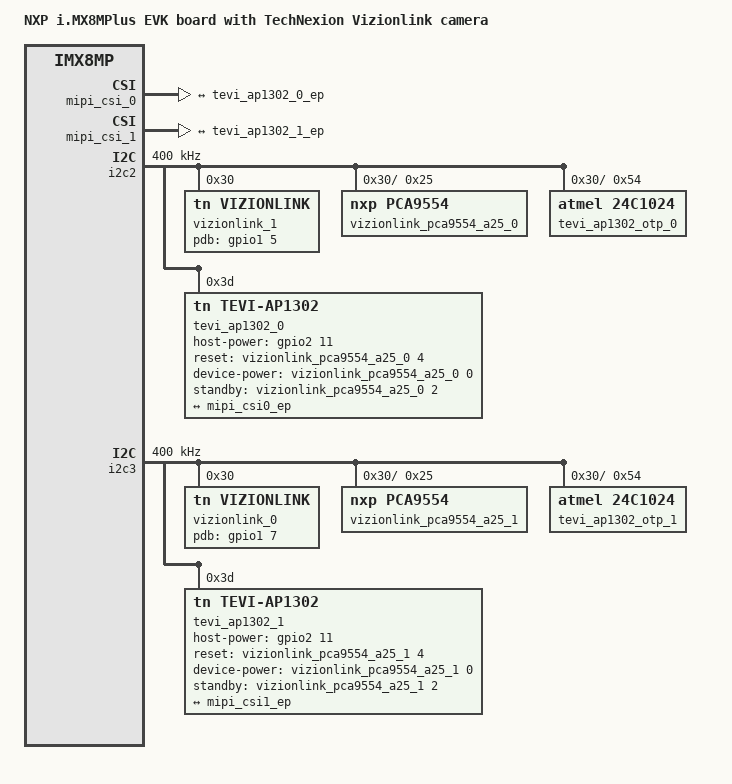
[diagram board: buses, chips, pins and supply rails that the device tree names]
// SPDX-License-Identifier: (GPL-2.0+ OR MIT)
/*
 * Copyright 2020 TechNexion Ltd.
 *
 * Author: Richard Hu <richard.hu@technexion.com>
 *         Ray Chang <ray.chang@technexion.com>
 *
 */

#include "imx8mp-evk.dts"

/ {
	model = "NXP i.MX8MPlus EVK board with TechNexion Vizionlink camera";
};

&iomuxc {
	ap1302_pinctrl_csi0_pwn: ap1302_csi0_pwn_grp {
		fsl,pins = <
			MX8MP_IOMUXC_SD1_STROBE__GPIO2_IO11	0x9 /* CSI1_PWDN for host-power-gpios */
			MX8MP_IOMUXC_GPIO1_IO05__GPIO1_IO05	0x9 /* INFO_TRIG_IN1 for standby-gpios */
		>;
	};

	ap1302_pinctrl_csi1_pwn: ap1302_csi1_pwn_grp {
		fsl,pins = <
			MX8MP_IOMUXC_SD1_STROBE__GPIO2_IO11	0x9 /* CSI1_PWDN for host-power-gpios */
			MX8MP_IOMUXC_GPIO1_IO07__GPIO1_IO07	0x9 /* INFO_TRIG_IN1 for standby-gpios */
		>;
	};

	ap1302_pinctrl_csi_mclk: ap1302_csi_mclk_grp {
		fsl,pins = <
			MX8MP_IOMUXC_GPIO1_IO15__GPIO1_IO15	0x9
		>;
	};

	ap1302_pinctrl_csi_rst: ap1302_csi_rst_grp {
		fsl,pins = <
			MX8MP_IOMUXC_GPIO1_IO06__GPIO1_IO06		0x19
		>;
	};
};

&mipi_csi_0 {
	#address-cells = <1>;
	#size-cells = <0>;
	clock-frequency = <400000000>;
	status = "okay";

	port@0 {
		reg = <0>;
		mipi_csi0_ep: endpoint {
			remote-endpoint = <&tevi_ap1302_0_ep>;
			data-lanes = <4>;
			csis-hs-settle = <19>;
			csis-clk-settle = <2>;
			csis-wclk;
		};
	};
};


&mipi_csi_1 {
	#address-cells = <1>;
	#size-cells = <0>;
	clock-frequency = <400000000>;
	status = "okay";

	port@1 {
		reg = <1>;
		mipi_csi1_ep: endpoint {
			remote-endpoint = <&tevi_ap1302_1_ep>;
			data-lanes = <4>;
			csis-hs-settle = <19>;
			csis-clk-settle = <2>;
			csis-wclk;
		};
	};
};


&i2c2 {
	clock-frequency = <400000>;

	/delete-node/ ov5640_mipi@3c;

	vizionlink_1: vizionlink@30 {
		compatible = "tn,vizionlink";
		reg = <0x30>;
		pdb-gpios = <&gpio1 5 GPIO_ACTIVE_HIGH>;
		ser_alias_id = <0x1b>;

		//i2c addr alias map "gpio extender, eeprom , sensor"
		i2c_addr_alias_map_local = <0x25 0x54 0x55 0x3d>;
		i2c_addr_alias_map_remote = <0x25 0x54 0x55 0x3d>;

		//deserializer output csi lanes 1~4. default 4
		des_csi_lanes = <4>;

		//1: Enable 0: Disable continuous clock. default 0
		des_csi_continuous_clock = <0>;

		//serializer input csi lanes 1~4. default 4
		ser_csi_lanes = <4>;

		//1: Enable 0: Disable continuous clock. default 0
		ser_csi_continuous_clock = <0>;

		status = "okay";

		i2c_dev_list {
			#address-cells = <1>;
			#size-cells = <0>;

			vizionlink_pca9554_a25_0: vizionlink_pca9554@25 {
				compatible = "nxp,pca9554";
				reg = <0x25>;
				gpio-controller;
				#gpio-cells = <2>;
				status = "okay";
			};

			tevi_ap1302_otp_0: tevi_ap1302_otp@54 {
				compatible = "atmel,24c1024";
				pagesize = <256>;
				reg = <0x54>;
			};
		};
	};

	tevi_ap1302_0: tevi_ap1302@3d {
		compatible = "tn,tevi-ap1302";
		reg = <0x3d>;

		pinctrl-names = "default";
		pinctrl-0 = <&ap1302_pinctrl_csi0_pwn>, <&ap1302_pinctrl_csi_rst>, <&ap1302_pinctrl_csi_mclk>;
		host-power-gpios = <&gpio2 11 GPIO_ACTIVE_HIGH>;
		reset-gpios = <&vizionlink_pca9554_a25_0 4 GPIO_ACTIVE_HIGH>;
		device-power-gpios = <&vizionlink_pca9554_a25_0 0 GPIO_ACTIVE_HIGH>;
		standby-gpios = <&vizionlink_pca9554_a25_0 2 GPIO_ACTIVE_HIGH>;
		nvmem = <&tevi_ap1302_otp_0>;
		nvmem-names = "calib-data";
		data-lanes = <4>;
		continuous-clock = <0>;
		status = "okay";

		port {
			tevi_ap1302_0_ep: endpoint {
				remote-endpoint = <&mipi_csi0_ep>;
			};
		};
	};
};


&i2c3 {
	clock-frequency = <400000>;

	/delete-node/ ov5640_mipi@3c;

	vizionlink_0: vizionlink@30 {
		compatible = "tn,vizionlink";
		reg = <0x30>;
		pdb-gpios = <&gpio1 7 GPIO_ACTIVE_HIGH>;
		ser_alias_id = <0x1b>;

		//i2c addr alias map "gpio extender, eeprom , sensor"
		i2c_addr_alias_map_local = <0x25 0x54 0x55 0x3d>;
		i2c_addr_alias_map_remote = <0x25 0x54 0x55 0x3d>;

		//deserializer output csi lanes 1~4. default 4
		des_csi_lanes = <4>;

		//1: Enable 0: Disable continuous clock. default 0
		des_csi_continuous_clock = <0>;

		//serializer input csi lanes 1~4. default 4
		ser_csi_lanes = <4>;

		//1: Enable 0: Disable continuous clock. default 0
		ser_csi_continuous_clock = <0>;

		status = "okay";

		i2c_dev_list {
			#address-cells = <1>;
			#size-cells = <0>;

			vizionlink_pca9554_a25_1: vizionlink_pca9554@25 {
				compatible = "nxp,pca9554";
				reg = <0x25>;
				gpio-controller;
				#gpio-cells = <2>;
				status = "okay";
			};

			tevi_ap1302_otp_1: tevi_ap1302_otp@54 {
				compatible = "atmel,24c1024";
				pagesize = <256>;
				reg = <0x54>;
			};
		};
	};

	tevi_ap1302_1: tevi_ap1302@3d {
		compatible = "tn,tevi-ap1302";
		reg = <0x3d>;

		pinctrl-names = "default";
		pinctrl-0 = <&ap1302_pinctrl_csi1_pwn>, <&ap1302_pinctrl_csi_rst>, <&ap1302_pinctrl_csi_mclk>;
		host-power-gpios = <&gpio2 11 GPIO_ACTIVE_HIGH>;
		reset-gpios = <&vizionlink_pca9554_a25_1 4 GPIO_ACTIVE_HIGH>;
		device-power-gpios = <&vizionlink_pca9554_a25_1 0 GPIO_ACTIVE_HIGH>;
		standby-gpios = <&vizionlink_pca9554_a25_1 2 GPIO_ACTIVE_HIGH>;
		nvmem = <&tevi_ap1302_otp_1>;
		nvmem-names = "calib-data";
		data-lanes = <4>;
		continuous-clock = <0>;
		status = "okay";

		port {
			tevi_ap1302_1_ep: endpoint {
				remote-endpoint = <&mipi_csi1_ep>;
			};
		};
	};
};
